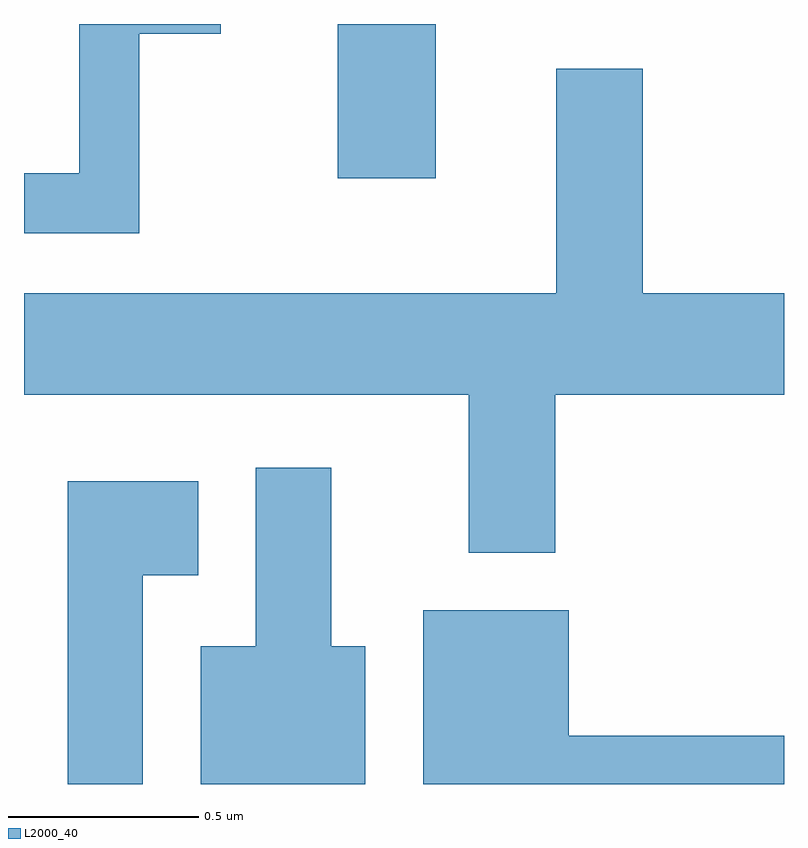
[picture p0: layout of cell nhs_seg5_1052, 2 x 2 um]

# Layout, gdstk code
import gdstk
lib = gdstk.Library(unit=1e-6, precision=1e-09)
def R(c, l, rs):  # rectangles x0, y0, x1, y1
    for r in rs: c.add(gdstk.rectangle(r[:2], r[2:], *l))
def P(c, l, *ps):  # polygons
    for p in ps: c.add(gdstk.Polygon(p, *l))
L2000_40 = (2000, 40)

nhs_seg5_1052 = lib.new_cell('nhs_seg5_1052')
R(nhs_seg5_1052, L2000_40, [(193.436,1490.666,193.694,1491.072)])
P(nhs_seg5_1052, L2000_40, [(192.914,1491.046),(193.129,1491.046),(193.129,1491.072),(192.756,1491.072),(192.756,1490.679),(192.611,1490.679),(192.611,1490.521),(192.914,1490.521)],
  [(194.009,1490.096),(194.611,1490.096),(194.611,1490.364),(194.239,1490.364),(194.239,1490.954),(194.011,1490.954),(194.011,1490.364),(192.611,1490.364),(192.611,1490.096),(193.781,1490.096),(193.781,1489.681),(194.009,1489.681)],
  [(193.509,1489.434),(193.419,1489.434),(193.419,1489.904),(193.221,1489.904),(193.221,1489.434),(193.076,1489.434),(193.076,1489.072),(193.509,1489.072)],
  [(192.924,1489.621),(193.069,1489.621),(193.069,1489.869),(192.726,1489.869),(192.726,1489.072),(192.924,1489.072)],
  [(194.611,1489.199),(194.044,1489.199),(194.044,1489.529),(193.661,1489.529),(193.661,1489.072),(194.611,1489.072)])

lib.write_gds('nhs_seg5_1052.gds')
